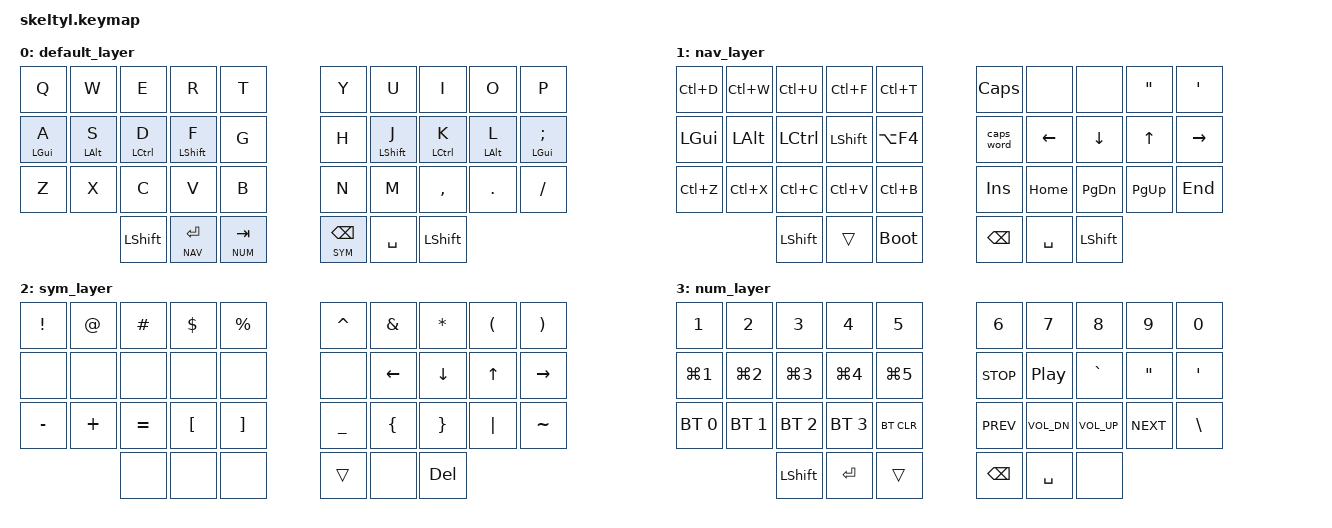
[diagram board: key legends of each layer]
#include <behaviors.dtsi>
#include <dt-bindings/zmk/bt.h>
#include <dt-bindings/zmk/keys.h>

// The default keymap is roughly on Miryoku layout
// (https://github.com/manna-harbour/miryoku).
// Customize on your own on the config folder.

#define BASE    0
#define NAV     1
#define SYM     2
#define NUM     3

#define KEYS_L  0 1 2 3 4 10 11 12 13 14 20 21 22 23 24
#define KEYS_R  5 6 7 8 9 15 16 17 18 19 25 26 27 28 29
#define KEYS_TL 30 31 32
#define KEYS_TR 33 34 35
#define TMB     KEYS_TL KEYS_TR

/ {
    behaviors {
        hml: home_row_mod_left {
            compatible = "zmk,behavior-hold-tap";
            #binding-cells = <2>;
            flavor = "tap-preferred";
            require-prior-idle-ms = <130>;
            tapping-term-ms = <280>;
            quick-tap-ms = <200>;
            bindings = <&kp>, <&kp>;
            hold-trigger-key-positions = <KEYS_R TMB>;
            hold-trigger-on-release;
            display-name = "Home Row Left";
        };
        hmr: home_row_mod_right {
            compatible = "zmk,behavior-hold-tap";
            #binding-cells = <2>;
            flavor = "tap-preferred";
            require-prior-idle-ms = <130>;
            tapping-term-ms = <280>;
            quick-tap-ms = <200>;
            bindings = <&kp>, <&kp>;
            hold-trigger-key-positions = <KEYS_L TMB>;
            hold-trigger-on-release;
            display-name = "Home Row Right";
        };
    };

    macros {
    };

    combos {
        compatible = "zmk,combos";
        combo_esc {
            timeout-ms = <50>;
            key-positions = <0 1>;
            bindings = <&kp ESC>;
        };
    };

    keymap {
        compatible = "zmk,keymap";

        default_layer {
            bindings = <
    &kp Q        &kp W       &kp E        &kp R        &kp T                          &kp Y     &kp U        &kp I        &kp O       &kp P
    &hml LGUI A  &hml LALT S &hml LCTRL D &hml LSHFT F &kp G                          &kp H     &hmr LSHFT J &hmr LCTRL K &hmr LALT L &hmr LGUI SEMI
    &kp Z        &kp X       &kp C        &kp V        &kp B                          &kp N     &kp M        &kp COMMA    &kp DOT     &kp FSLH
                             &kp LSHFT    &lt NAV RET  &lt NUM TAB       &lt SYM BSPC &kp SPACE &kp LSHFT
            >;
        };

        nav_layer {
            bindings = <
    &kp LC(D)    &kp LC(W)    &kp LC(U)    &kp LC(F)    &kp LC(T)                              &kp CAPS    &none       &none        &kp DQT      &kp SQT
    &kp LGUI     &kp LALT     &kp LCTRL    &kp LSHFT    &kp LA(F4)                             &caps_word  &kp LEFT    &kp DOWN     &kp UP       &kp RIGHT
    &kp LC(Z)    &kp LC(X)    &kp LC(C)    &kp LC(V)    &kp LC(B)                              &kp INS     &kp HOME    &kp PG_DN    &kp PG_UP    &kp END
                                           &kp LSHFT    &trans  &bootloader       &kp BSPC     &kp SPACE   &kp LSHFT
            >;
        };

        sym_layer {
            bindings = <
    &kp EXCL    &kp AT      &kp HASH    &kp DLLR  &kp PRCNT                         &kp CARET   &kp AMPS    &kp STAR    &kp LPAR    &kp RPAR
    &none       &none       &none       &none     &none                             &none       &kp LEFT    &kp DOWN    &kp UP      &kp RIGHT
    &kp MINUS   &kp PLUS    &kp EQUAL   &kp LBKT  &kp RBKT                          &kp UNDER   &kp LBRC    &kp RBRC    &kp PIPE    &kp TILDE
                                        &none     &none      &none          &trans  &none       &kp DEL
            >;
        };

        num_layer {
            bindings = <
    &kp N1       &kp N2       &kp N3       &kp N4       &kp N5                           &kp N6      &kp N7       &kp N8       &kp N9     &kp N0
    &kp LG(N1)   &kp LG(N2)   &kp LG(N3)   &kp LG(N4)   &kp LG(N5)                       &kp C_STOP  &kp C_PP     &kp GRAVE    &kp DQT    &kp SQT
    &bt BT_SEL 0 &bt BT_SEL 1 &bt BT_SEL 2 &bt BT_SEL 3 &bt BT_CLR                       &kp C_PREV  &kp C_VOL_DN &kp C_VOL_UP &kp C_NEXT &kp BSLH 
                                           &kp LSHFT    &kp RET  &trans         &kp BSPC &kp SPACE   &none
            >;
        };
    };
};
